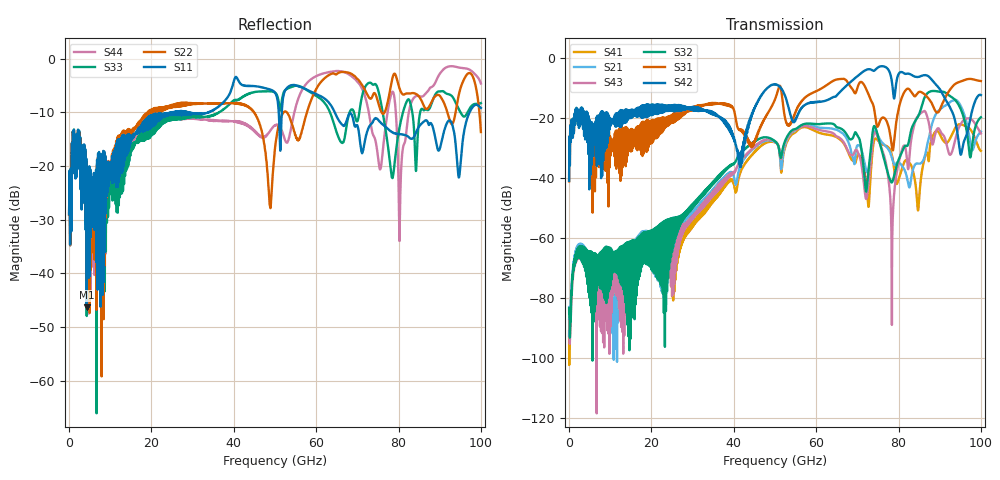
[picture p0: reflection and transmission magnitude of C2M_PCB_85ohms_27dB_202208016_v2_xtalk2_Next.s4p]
! Info: Touchstone file created by Circ.  Input file=Intel_C2M_200G_11p5in_202208016_staggered.circ
# Hz S RI R 50
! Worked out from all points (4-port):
!   10000 points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, 10 MHz to 100 GHz, reference 50 ohm
!   strongest paths, dB at 10 MHz, 25.01 GHz, 50.01 GHz, 75.01 GHz, 100 GHz:
!     S42: -41.0, -16.9, -8.9, -3.3, -12.5
!     S31: -41.2, -20.7, -13.8, -22.8, -7.8
!     S32: -83.3, -63.2, -27.9, -26.1, -19.9
!     S43: -87.2, -69.7, -28.0, -26.7, -25.2
!     S21: -92.7, -66.7, -28.1, -26.0, -24.6
!     S41: -91.0, -71.2, -28.3, -27.6, -31.1
!   lowest |S11| = -46.3 dB at 4.28 GHz (marker M1), VSWR 1.01, Z = 49.6 + j0.234 ohm
!   |S11| at or under -10 dB: start of sweep to 24.69 GHz; 29.11 GHz to 33.82 GHz (4.708 GHz wide, 15 % of centre); 64.5 GHz to 97.26 GHz (32.76 GHz wide, 40.5 % of centre)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
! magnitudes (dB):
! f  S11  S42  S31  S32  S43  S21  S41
! 10 MHz  -29.0  -41.0  -41.2  -83.3  -87.2  -92.7  -91.0
! 4.28 GHz  -46.3  -18.0  -19.4  -63.9  -66.8  -64.1  -66.3
! 56.61 GHz  -5.4  -16.4  -14.3  -22.4  -22.9  -22.4  -23.2
! 74.53 GHz  -11.1  -3.8  -21.1  -23.8  -25.2  -24.7  -27.0
! 78.43 GHz  -13.7  -8.4  -30.1  -41.5  -66.8  -33.6  -32.6
! 85.13 GHz  -12.5  -6.3  -11.4  -18.4  -18.8  -35.3  -44.7
! 100 GHz  -9.2  -12.5  -7.8  -19.9  -25.2  -24.6  -31.1
